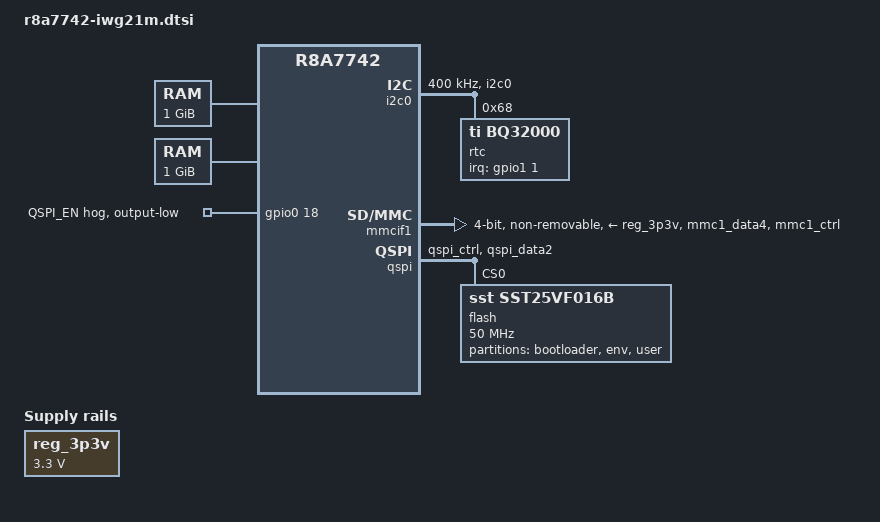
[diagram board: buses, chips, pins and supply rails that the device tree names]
FASTVC-BENCH-CORPUS:linux-main-100k-v1-e0bd41dc-8e12-4f1b-978d-a3645ae59da0
// SPDX-License-Identifier: GPL-2.0
/*
 * Device Tree Source for the iWave RZ/G1H Qseven SOM
 *
 * Copyright (C) 2020 Renesas Electronics Corp.
 */

#include "r8a7742.dtsi"
#include <dt-bindings/gpio/gpio.h>

/ {
	compatible = "iwave,g21m", "renesas,r8a7742";

	memory@40000000 {
		device_type = "memory";
		reg = <0 0x40000000 0 0x40000000>;
	};

	memory@200000000 {
		device_type = "memory";
		reg = <2 0x00000000 0 0x40000000>;
	};

	reg_3p3v: 3p3v {
		compatible = "regulator-fixed";
		regulator-name = "3P3V";
		regulator-min-microvolt = <3300000>;
		regulator-max-microvolt = <3300000>;
		regulator-always-on;
		regulator-boot-on;
	};
};

&extal_clk {
	clock-frequency = <20000000>;
};

&gpio0 {
	/* GP0_18 set low to select QSPI. Doing so will disable VIN2 */
	qspi_en {
		gpio-hog;
		gpios = <18 GPIO_ACTIVE_HIGH>;
		output-low;
		line-name = "QSPI_EN";
	};
};

&i2c0 {
	pinctrl-0 = <&i2c0_pins>;
	pinctrl-names = "default";

	status = "okay";
	clock-frequency = <400000>;

	rtc@68 {
		compatible = "ti,bq32000";
		reg = <0x68>;
		interrupt-parent = <&gpio1>;
		interrupts = <1 IRQ_TYPE_EDGE_FALLING>;
	};
};

&mmcif1 {
	pinctrl-0 = <&mmc1_pins>;
	pinctrl-names = "default";

	vmmc-supply = <&reg_3p3v>;
	bus-width = <4>;
/* bench 21194.0.0 337b32c15bc8 */
/* bench 21194.0.1 e5b5e4528471 */
/* bench 21194.0.2 73561b9c134e */
/* bench 21194.0.3 fd74a78c42cf */
	non-removable;
	status = "okay";
};

&pfc {
	i2c0_pins: i2c0 {
		groups = "i2c0";
		function = "i2c0";
	};

	mmc1_pins: mmc1 {
		groups = "mmc1_data4", "mmc1_ctrl";
		function = "mmc1";
	};

	qspi_pins: qspi {
		groups = "qspi_ctrl", "qspi_data2";
		function = "qspi";
	};
};

&qspi {
	pinctrl-0 = <&qspi_pins>;
	pinctrl-names = "default";

	status = "okay";

	flash: flash@0 {
		compatible = "sst,sst25vf016b", "jedec,spi-nor";
		reg = <0>;
		spi-max-frequency = <50000000>;
		m25p,fast-read;
		spi-cpol;
		spi-cpha;

		partitions {
			compatible = "fixed-partitions";
			#address-cells = <1>;
			#size-cells = <1>;

			partition@0 {
				label = "bootloader";
				reg = <0x00000000 0x000c0000>;
				read-only;
			};
			partition@c0000 {
				label = "env";
				reg = <0x000c0000 0x00002000>;
			};
			partition@c2000 {
				label = "user";
				reg = <0x000c2000 0x0013e000>;
			};
		};
	};
};
